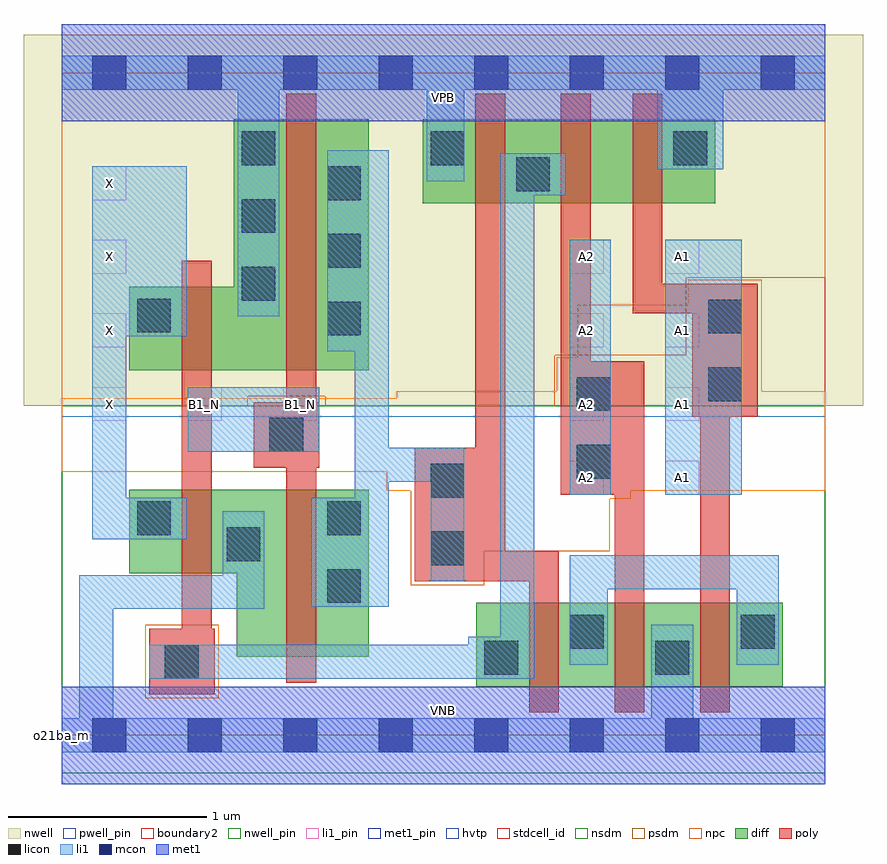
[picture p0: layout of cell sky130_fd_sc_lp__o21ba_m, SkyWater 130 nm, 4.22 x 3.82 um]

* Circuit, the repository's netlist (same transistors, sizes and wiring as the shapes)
* Copyright 2020 The SkyWater PDK Authors
*
* Licensed under the Apache License, Version 2.0 (the "License");
* you may not use this file except in compliance with the License.
* You may obtain a copy of the License at
*
*     https://www.apache.org/licenses/LICENSE-2.0
*
* Unless required by applicable law or agreed to in writing, software
* distributed under the License is distributed on an "AS IS" BASIS,
* WITHOUT WARRANTIES OR CONDITIONS OF ANY KIND, either express or implied.
* See the License for the specific language governing permissions and
* limitations under the License.
*
* SPDX-License-Identifier: Apache-2.0

.SUBCKT sky130_fd_sc_lp__o21ba_m A1 A2 B1_N VGND VNB VPB VPWR X
*.PININFO A1:I A2:I B1_N:I VGND:I VNB:I VPB:I VPWR:I X:O
MMPA0 VPWR A1 sndA1 VPB sky130_fd_pr__pfet_01v8_hvt m=1 w=0.42U l=0.15U mult=1
+ sa=0.265 sb=0.265 sd=0.28 area=0.063 perim=1.14
MMPA1 sndA1 A2 y VPB sky130_fd_pr__pfet_01v8_hvt m=1 w=0.42U l=0.15U mult=1 sa=0.265
+ sb=0.265 sd=0.28 area=0.063 perim=1.14
MMPB0 VPWR B1 y VPB sky130_fd_pr__pfet_01v8_hvt m=1 w=0.42U l=0.15U mult=1 sa=0.265
+ sb=0.265 sd=0.28 area=0.063 perim=1.14
MMIPB1N B1 B1_N VPWR VPB sky130_fd_pr__pfet_01v8_hvt m=1 w=1.26U l=0.15U mult=1
+ sa=0.265 sb=0.265 sd=0.28 area=0.063 perim=1.14
MMIPX X y VPWR VPB sky130_fd_pr__pfet_01v8_hvt m=1 w=0.42U l=0.15U mult=1 sa=0.265
+ sb=0.265 sd=0.28 area=0.063 perim=1.14
MMNA0 pndA A1 VGND VNB sky130_fd_pr__nfet_01v8 m=1 w=0.42U l=0.15U mult=1 sa=0.265
+ sb=0.265 sd=0.28 area=0.063 perim=1.14
MMNA1 pndA A2 VGND VNB sky130_fd_pr__nfet_01v8 m=1 w=0.42U l=0.15U mult=1 sa=0.265
+ sb=0.265 sd=0.28 area=0.063 perim=1.14
MMNB0 y B1 pndA VNB sky130_fd_pr__nfet_01v8 m=1 w=0.42U l=0.15U mult=1 sa=0.265
+ sb=0.265 sd=0.28 area=0.063 perim=1.14
MMINB1N B1 B1_N VGND VNB sky130_fd_pr__nfet_01v8 m=1 w=0.84U l=0.15U mult=1 sa=0.265
+ sb=0.265 sd=0.28 area=0.063 perim=1.14
MMINX X y VGND VNB sky130_fd_pr__nfet_01v8 m=1 w=0.42U l=0.15U mult=1 sa=0.265
+ sb=0.265 sd=0.28 area=0.063 perim=1.14
.ENDS sky130_fd_sc_lp__o21ba_m

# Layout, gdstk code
import gdstk
lib = gdstk.Library(unit=1e-6, precision=1e-09)
def R(c, l, rs):  # rectangles x0, y0, x1, y1
    for r in rs: c.add(gdstk.rectangle(r[:2], r[2:], *l))
def A(c, l, x, y, w, h, nx, ny, dx, dy):  # array of equal rectangles
    R(c, l, [(x+i*dx, y+j*dy, x+i*dx+w, y+j*dy+h) for i in range(nx) for j in range(ny)])
def P(c, l, *ps):  # polygons
    for p in ps: c.add(gdstk.Polygon(p, *l))
nwell_pin = (64, 16)
nwell = (64, 20)
diff = (65, 20)
poly = (66, 20)
licon = (66, 44)
li1_pin = (67, 16)
li1 = (67, 20)
mcon = (67, 44)
met1_pin = (68, 16)
met1 = (68, 20)
hvtp = (78, 44)
stdcell_id = (81, 4)
nsdm = (93, 44)
psdm = (94, 20)
npc = (95, 20)
pwell_pin = (122, 16)
boundary2 = (236, 0)

sky130_fd_sc_lp__o21ba_m = lib.new_cell('sky130_fd_sc_lp__o21ba_m')
R(sky130_fd_sc_lp__o21ba_m, nwell_pin, [(0,3.085,3.84,3.33)])
R(sky130_fd_sc_lp__o21ba_m, nwell, [(-0.19,1.655,4.03,3.52)])
R(sky130_fd_sc_lp__o21ba_m, diff, [(2.085,0.245,3.625,0.665), (1.815,2.675,3.285,3.095)])
P(sky130_fd_sc_lp__o21ba_m, diff, [(1.545,3.095),(0.865,3.095),(0.865,2.255),(0.34,2.255),(0.34,1.835),(1.545,1.835)],
  [(1.545,1.235),(0.34,1.235),(0.34,0.815),(0.88,0.815),(0.88,0.395),(1.545,0.395)])
P(sky130_fd_sc_lp__o21ba_m, poly, [(0.77,0.535),(0.755,0.535),(0.755,2.385),(0.605,2.385),(0.605,0.535),(0.44,0.535),(0.44,0.205),(0.77,0.205)],
  [(1.295,1.675),(1.28,1.675),(1.28,3.225),(1.13,3.225),(1.13,1.675),(0.965,1.675),(0.965,1.345),(1.13,1.345),(1.13,0.265),(1.28,0.265),(1.28,1.345),(1.295,1.345)],
  [(2.5,0.925),(2.23,0.925),(2.23,3.225),(2.08,3.225),(2.08,1.445),(1.775,1.445),(1.775,0.775),(2.35,0.775),(2.35,0.115),(2.5,0.115)],
  [(2.93,1.88),(2.66,1.88),(2.66,3.225),(2.51,3.225),(2.51,1.21),(2.78,1.21),(2.78,0.115),(2.93,0.115)],
  [(3.5,2.27),(3.02,2.27),(3.02,3.225),(2.87,3.225),(2.87,2.12),(3.17,2.12),(3.17,1.6),(3.21,1.6),(3.21,0.115),(3.36,0.115),(3.36,1.6),(3.5,1.6)])
A(sky130_fd_sc_lp__o21ba_m, licon, 1.335, 2.01, 0.17, 0.17, 1, 3, 0, 0.34)
A(sky130_fd_sc_lp__o21ba_m, licon, 0.905, 2.185, 0.17, 0.17, 1, 3, 0, 0.34)
R(sky130_fd_sc_lp__o21ba_m, licon, [(0.52,0.285,0.69,0.455), (2.125,0.305,2.295,0.475), (2.985,0.305,3.155,0.475), (2.555,0.435,2.725,0.605), (3.415,0.435,3.585,0.605), (1.335,0.665,1.505,0.835), (1.855,0.855,2.025,1.025), (0.83,0.875,1,1.045), (0.38,1.005,0.55,1.175), (1.335,1.005,1.505,1.175), (1.855,1.195,2.025,1.365), (2.59,1.29,2.76,1.46), (1.045,1.425,1.215,1.595), (2.59,1.63,2.76,1.8), (3.25,1.68,3.42,1.85), (3.25,2.02,3.42,2.19), (0.38,2.025,0.55,2.195), (2.285,2.735,2.455,2.905), (1.855,2.865,2.025,3.035), (3.075,2.865,3.245,3.035)])
A(sky130_fd_sc_lp__o21ba_m, li1_pin, 2.555, 1.21, 0.17, 0.17, 1, 4, 0, 0.37)
A(sky130_fd_sc_lp__o21ba_m, li1_pin, 3.035, 1.21, 0.17, 0.17, 1, 4, 0, 0.37)
A(sky130_fd_sc_lp__o21ba_m, li1_pin, 0.155, 1.58, 0.17, 0.17, 3, 1, 0.48, 0)
A(sky130_fd_sc_lp__o21ba_m, li1_pin, 0.155, 1.95, 0.17, 0.17, 1, 3, 0, 0.37)
R(sky130_fd_sc_lp__o21ba_m, li1, [(2.555,1.21,2.76,2.49), (3.035,1.21,3.42,2.49), (0.635,1.425,1.295,1.75)])
P(sky130_fd_sc_lp__o21ba_m, li1, [(2.995,2.845),(2.995,3.245),(2.025,3.245),(2.025,2.785),(1.835,2.785),(1.835,3.245),(1.095,3.245),(1.095,2.105),(0.885,2.105),(0.885,3.245),(0,3.245),(0,3.415),(3.84,3.415),(3.84,3.245),(3.325,3.245),(3.325,2.845)],
  [(2.965,0.085),(2.965,0.555),(3.175,0.555),(3.175,0.085),(3.84,0.085),(3.84,-0.085),(0,-0.085),(0,0.085),(0.09,0.085),(0.09,0.805),(0.81,0.805),(0.81,1.125),(1.02,1.125),(1.02,0.635),(0.26,0.635),(0.26,0.085)],
  [(3.395,0.355),(3.395,0.735),(2.745,0.735),(2.745,0.355),(2.555,0.355),(2.555,0.905),(3.605,0.905),(3.605,0.355)],
  [(2.045,0.455),(2.045,0.495),(2.205,0.495),(2.205,2.925),(2.535,2.925),(2.535,2.715),(2.375,2.715),(2.375,0.285),(0.44,0.285),(0.44,0.455)],
  [(1.645,1.445),(2.025,1.445),(2.025,0.775),(1.855,0.775),(1.855,1.275),(1.645,1.275),(1.645,0.645),(1.255,0.645),(1.255,1.195),(1.475,1.195),(1.475,1.93),(1.335,1.93),(1.335,2.94),(1.645,2.94)],
  [(0.155,2.86),(0.63,2.86),(0.63,2.005),(0.325,2.005),(0.325,1.195),(0.63,1.195),(0.63,0.985),(0.155,0.985)])
A(sky130_fd_sc_lp__o21ba_m, mcon, 0.155, -0.085, 0.17, 0.17, 8, 2, 0.48, 3.33)
R(sky130_fd_sc_lp__o21ba_m, met1_pin, [(0,0,3.84,0.245), (0,3.085,3.84,3.33)])
R(sky130_fd_sc_lp__o21ba_m, met1, [(0,-0.245,3.84,0.245), (0,3.085,3.84,3.575)])
R(sky130_fd_sc_lp__o21ba_m, hvtp, [(0,1.6,3.84,3.33)])
R(sky130_fd_sc_lp__o21ba_m, stdcell_id, [(0,0,3.84,3.33)])
R(sky130_fd_sc_lp__o21ba_m, nsdm, [(0,-0.19,3.84,1.655)])
P(sky130_fd_sc_lp__o21ba_m, psdm, [(3.84,3.52),(0,3.52),(0,1.655),(0.935,1.655),(0.935,1.705),(1.325,1.705),(1.325,1.655),(2.48,1.655),(2.48,1.91),(3.14,1.91),(3.14,2.3),(3.84,2.3)])
R(sky130_fd_sc_lp__o21ba_m, npc, [(0.42,0.185,0.79,0.555)])
P(sky130_fd_sc_lp__o21ba_m, npc, [(3.84,1.73),(3.52,1.73),(3.52,2.29),(3.15,2.29),(3.15,2.165),(2.595,2.165),(2.595,1.9),(2.49,1.9),(2.49,1.73),(1.685,1.73),(1.685,1.695),(0,1.695),(0,1.325),(1.635,1.325),(1.635,1.23),(1.755,1.23),(1.755,0.755),(2.125,0.755),(2.125,0.925),(2.755,0.925),(2.755,1.19),(2.86,1.19),(2.86,1.23),(3.84,1.23)])
R(sky130_fd_sc_lp__o21ba_m, pwell_pin, [(0,0,3.84,0.245)])
R(sky130_fd_sc_lp__o21ba_m, boundary2, [(0,0,3.84,3.33)])
sky130_fd_sc_lp__o21ba_m.add(gdstk.Label('VNB', (1.92,0.123), layer=64, texttype=59))
sky130_fd_sc_lp__o21ba_m.add(gdstk.Label('VPB', (1.92,3.208), layer=64, texttype=5))
sky130_fd_sc_lp__o21ba_m.add(gdstk.Label('o21ba_m', (0,0), layer=83, texttype=44))
sky130_fd_sc_lp__o21ba_m.add(gdstk.Label('VPWR', (1.92,3.208), layer=68, texttype=5))
sky130_fd_sc_lp__o21ba_m.add(gdstk.Label('VGND', (1.92,0.123), layer=68, texttype=5))
sky130_fd_sc_lp__o21ba_m.add(gdstk.Label('A2', (2.64,1.295), layer=67, texttype=5))
sky130_fd_sc_lp__o21ba_m.add(gdstk.Label('A2', (2.64,1.665), layer=67, texttype=5))
sky130_fd_sc_lp__o21ba_m.add(gdstk.Label('A2', (2.64,2.035), layer=67, texttype=5))
sky130_fd_sc_lp__o21ba_m.add(gdstk.Label('A2', (2.64,2.405), layer=67, texttype=5))
sky130_fd_sc_lp__o21ba_m.add(gdstk.Label('B1_N', (0.72,1.665), layer=67, texttype=5))
sky130_fd_sc_lp__o21ba_m.add(gdstk.Label('B1_N', (1.2,1.665), layer=67, texttype=5))
sky130_fd_sc_lp__o21ba_m.add(gdstk.Label('A1', (3.12,1.295), layer=67, texttype=5))
sky130_fd_sc_lp__o21ba_m.add(gdstk.Label('A1', (3.12,1.665), layer=67, texttype=5))
sky130_fd_sc_lp__o21ba_m.add(gdstk.Label('A1', (3.12,2.035), layer=67, texttype=5))
sky130_fd_sc_lp__o21ba_m.add(gdstk.Label('A1', (3.12,2.405), layer=67, texttype=5))
sky130_fd_sc_lp__o21ba_m.add(gdstk.Label('X', (0.24,1.665), layer=67, texttype=5))
sky130_fd_sc_lp__o21ba_m.add(gdstk.Label('X', (0.24,2.035), layer=67, texttype=5))
sky130_fd_sc_lp__o21ba_m.add(gdstk.Label('X', (0.24,2.405), layer=67, texttype=5))
sky130_fd_sc_lp__o21ba_m.add(gdstk.Label('X', (0.24,2.775), layer=67, texttype=5))

lib.write_gds('sky130_fd_sc_lp__o21ba_m.gds')
